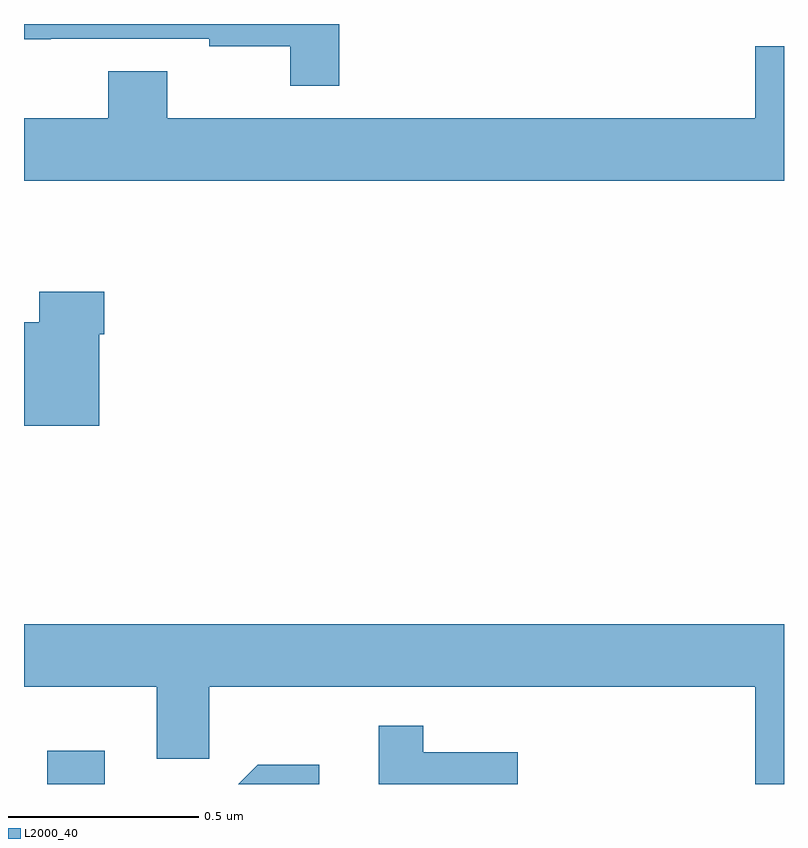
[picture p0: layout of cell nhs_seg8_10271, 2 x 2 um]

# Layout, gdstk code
import gdstk
lib = gdstk.Library(unit=1e-6, precision=1e-09)
def R(c, l, rs):  # rectangles x0, y0, x1, y1
    for r in rs: c.add(gdstk.rectangle(r[:2], r[2:], *l))
def P(c, l, *ps):  # polygons
    for p in ps: c.add(gdstk.Polygon(p, *l))
L2000_40 = (2000, 40)

nhs_seg8_10271 = lib.new_cell('nhs_seg8_10271')
R(nhs_seg8_10271, L2000_40, [(247.061,1126.9,247.213,1126.987)])
P(nhs_seg8_10271, L2000_40, [(247.829,1128.9),(247,1128.9),(247,1128.86),(247.071,1128.86),(247.071,1128.861),(247.488,1128.861),(247.488,1128.842),(247.701,1128.842),(247.701,1128.737),(247.829,1128.737)],
  [(249,1128.841),(248.924,1128.841),(248.924,1128.652),(247.377,1128.652),(247.377,1128.776),(247.222,1128.776),(247.222,1128.652),(247,1128.652),(247,1128.488),(249,1128.488)],
  [(247.198,1128.083),(247.211,1128.083),(247.211,1128.196),(247.04,1128.196),(247.04,1128.115),(247,1128.115),(247,1127.843),(247.198,1127.843)],
  [(249,1127.32),(247,1127.32),(247,1127.156),(247.349,1127.156),(247.349,1126.966),(247.488,1126.966),(247.488,1127.156),(248.924,1127.156),(248.924,1126.9),(249,1126.9)],
  [(248.299,1126.984),(248.051,1126.984),(248.051,1127.053),(247.934,1127.053),(247.934,1126.9),(248.299,1126.9)],
  [(247.777,1126.951),(247.615,1126.951),(247.564,1126.9),(247.777,1126.9)])

lib.write_gds('nhs_seg8_10271.gds')
